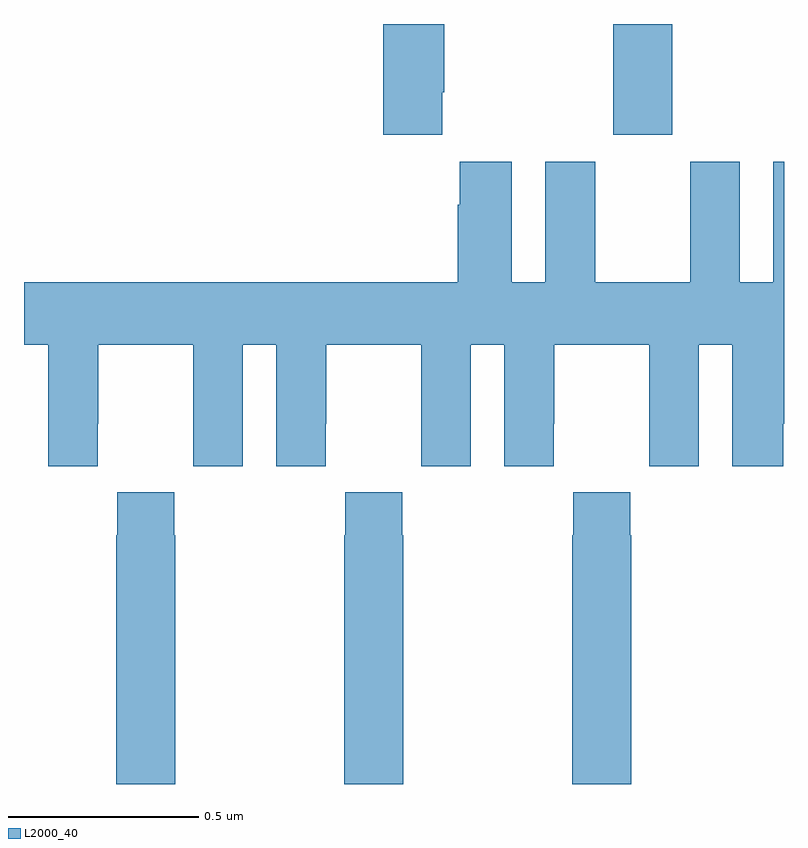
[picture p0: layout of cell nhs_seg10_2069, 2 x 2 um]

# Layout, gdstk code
import gdstk
lib = gdstk.Library(unit=1e-6, precision=1e-09)
def R(c, l, rs):  # rectangles x0, y0, x1, y1
    for r in rs: c.add(gdstk.rectangle(r[:2], r[2:], *l))
def P(c, l, *ps):  # polygons
    for p in ps: c.add(gdstk.Polygon(p, *l))
L2000_40 = (2000, 40)

nhs_seg10_2069 = lib.new_cell('nhs_seg10_2069')
R(nhs_seg10_2069, L2000_40, [(137.551,1294.209,137.706,1294.5)])
P(nhs_seg10_2069, L2000_40, [(137.101,1294.321),(137.106,1294.321),(137.106,1294.5),(136.946,1294.5),(136.946,1294.209),(137.101,1294.209)],
  [(136.194,1293.448),(136.195,1293.448),(136.195,1293.656),(136.445,1293.656),(136.445,1293.448),(136.446,1293.448),(136.446,1293.336),(136.576,1293.336),(136.576,1293.656),(136.664,1293.656),(136.664,1293.336),(136.794,1293.336),(136.794,1293.448),(136.795,1293.448),(136.795,1293.656),(137.045,1293.656),(137.045,1293.448),(137.046,1293.448),(137.046,1293.336),(137.176,1293.336),(137.176,1293.656),(137.264,1293.656),(137.264,1293.336),(137.394,1293.336),(137.394,1293.448),(137.395,1293.448),(137.395,1293.656),(137.645,1293.656),(137.645,1293.448),(137.646,1293.448),(137.646,1293.336),(137.776,1293.336),(137.776,1293.656),(137.864,1293.656),(137.864,1293.336),(137.998,1293.336),(137.998,1293.448),(138,1293.448),(138,1294.138),(137.972,1294.138),(137.972,1293.82),(137.884,1293.82),(137.884,1294.138),(137.753,1294.138),(137.753,1293.82),(137.503,1293.82),(137.503,1294.138),(137.372,1294.138),(137.372,1293.82),(137.284,1293.82),(137.284,1294.138),(137.147,1294.138),(137.147,1294.025),(137.141,1294.025),(137.141,1293.82),(136,1293.82),(136,1293.656),(136.064,1293.656),(136.064,1293.336),(136.194,1293.336)],
  [(136.398,1293.155),(136.395,1293.155),(136.395,1293.268),(136.245,1293.268),(136.245,1293.155),(136.243,1293.155),(136.243,1292.5),(136.398,1292.5)],
  [(136.998,1293.155),(136.995,1293.155),(136.995,1293.268),(136.845,1293.268),(136.845,1293.155),(136.843,1293.155),(136.843,1292.5),(136.998,1292.5)],
  [(137.598,1293.155),(137.595,1293.155),(137.595,1293.268),(137.445,1293.268),(137.445,1293.155),(137.443,1293.155),(137.443,1292.5),(137.598,1292.5)])

lib.write_gds('nhs_seg10_2069.gds')
